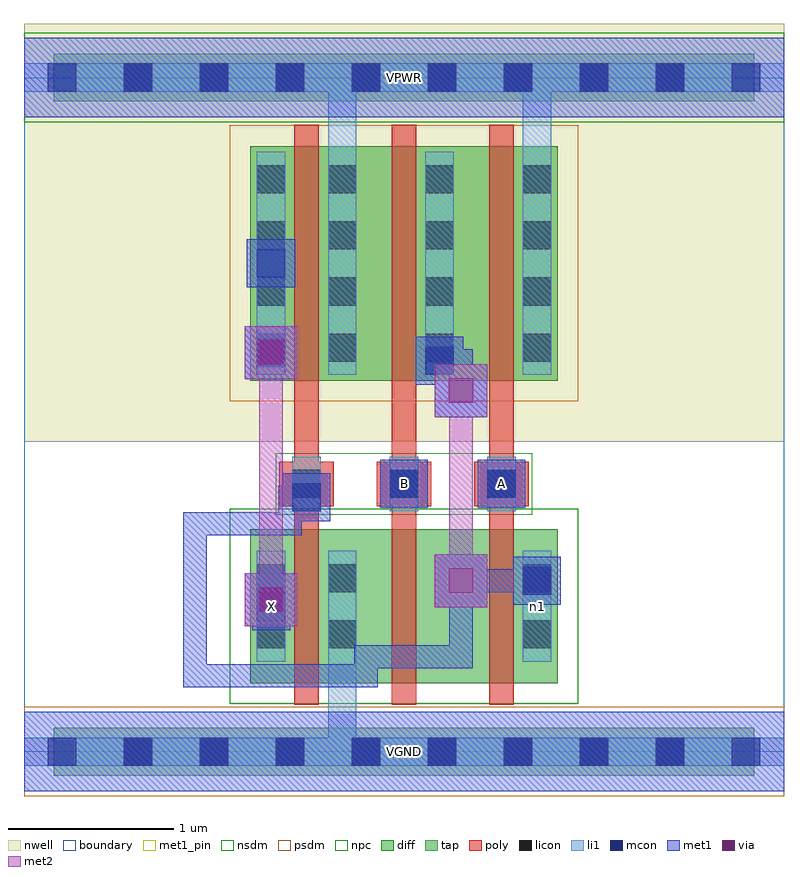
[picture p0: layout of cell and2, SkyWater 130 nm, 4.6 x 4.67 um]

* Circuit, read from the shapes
.subckt and2 A B VGND VPWR X n1
XM1 VGND n1 X VGND sky130_fd_pr__nfet_01v8 w=0.93 l=0.15
XM2 n2 B VGND VGND sky130_fd_pr__nfet_01v8 w=0.93 l=0.15
XM3 n1 A n2 VGND sky130_fd_pr__nfet_01v8 w=0.93 l=0.15
XM4 VPWR n1 X VPWR sky130_fd_pr__pfet_01v8 w=1.42 l=0.15
XM5 n1 B VPWR VPWR sky130_fd_pr__pfet_01v8 w=1.42 l=0.15
XM6 VPWR A n1 VPWR sky130_fd_pr__pfet_01v8 w=1.42 l=0.15
.ends

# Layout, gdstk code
import gdstk
lib = gdstk.Library(unit=1e-6, precision=1e-09)
def R(c, l, rs):  # rectangles x0, y0, x1, y1
    for r in rs: c.add(gdstk.rectangle(r[:2], r[2:], *l))
def A(c, l, x, y, w, h, nx, ny, dx, dy):  # array of equal rectangles
    R(c, l, [(x+i*dx, y+j*dy, x+i*dx+w, y+j*dy+h) for i in range(nx) for j in range(ny)])
nwell = (64, 20)
diff = (65, 20)
tap = (65, 44)
poly = (66, 20)
licon = (66, 44)
li1 = (67, 20)
mcon = (67, 44)
met1_pin = (68, 16)
met1 = (68, 20)
via = (68, 44)
met2 = (69, 20)
nsdm = (93, 44)
psdm = (94, 20)
npc = (95, 20)
boundary = (235, 4)

and2 = lib.new_cell('and2')
R(and2, nwell, [(0,1.875,4.6,4.405)])
R(and2, diff, [(1.37,0.415,3.23,1.345), (1.37,2.245,3.23,3.665)])
R(and2, tap, [(0.18,-0.145,4.42,0.145), (0.18,3.935,4.42,4.225)])
A(and2, poly, 1.635, 0.285, 0.15, 3.51, 3, 1, 0.59, 0)
A(and2, poly, 1.545, 1.485, 0.33, 0.27, 3, 1, 0.59, 0)
A(and2, licon, 0.605, -0.085, 0.17, 0.17, 8, 2, 0.46, 4.08)
A(and2, licon, 1.625, 1.535, 0.17, 0.17, 3, 1, 0.59, 0)
A(and2, licon, 1.41, 2.36, 0.17, 0.17, 1, 4, 0, 0.34)
A(and2, licon, 1.84, 2.36, 0.17, 0.17, 3, 4, 0.59, 0.34)
R(and2, licon, [(1.41,0.625,1.58,0.795), (1.84,0.625,2.01,0.795), (3.02,0.625,3.19,0.795), (1.41,0.965,1.58,1.135), (1.84,0.965,2.01,1.135), (3.02,0.965,3.19,1.135)])
A(and2, li1, 1.625, 1.455, 0.17, 0.33, 3, 1, 0.59, 0)
A(and2, li1, 1.84, 2.28, 0.17, 1.35, 3, 1, 0.59, 0)
R(and2, li1, [(0,-0.085,4.6,0.085), (1.84,-0.085,2.01,1.215), (1.41,0.545,1.58,1.215), (1.84,0.545,2.01,1.215), (3.02,0.545,3.19,1.215), (1.41,2.28,1.58,3.63), (1.84,2.28,2.01,4.165), (3.02,2.28,3.19,4.165), (0,3.995,4.6,4.165)])
A(and2, mcon, 0.145, -0.085, 0.17, 0.17, 10, 2, 0.46, 4.08)
R(and2, mcon, [(1.41,0.795,1.58,0.965), (3.02,0.95,3.19,1.12), (1.625,1.455,1.795,1.625), (2.215,1.535,2.385,1.705), (2.805,1.535,2.975,1.705), (2.43,2.28,2.6,2.45), (1.41,2.33,1.58,2.5), (1.41,2.87,1.58,3.04)])
R(and2, met1_pin, [(0,-0.24,4.6,0.24), (1.38,0.735,1.61,1.025), (2.155,1.475,2.445,1.765), (2.745,1.475,3.035,1.765), (0,3.84,4.6,4.32)])
R(and2, met1, [(0,-0.24,4.6,0.24), (0.965,0.39,2.14,0.53), (0.965,0.39,1.105,1.45), (2,0.39,2.14,0.645), (2,0.505,2.715,0.645), (2.575,0.505,2.715,1.105), (1.38,0.735,1.61,1.025), (1.335,0.76,1.655,1.08), (1.425,0.85,1.565,0.99), (2.485,0.875,2.805,1.195), (2.96,0.89,3.25,1.18), (2.575,0.965,3.175,1.105), (0.965,1.31,1.68,1.45), (1.54,1.31,1.68,1.61), (1.565,1.395,1.855,1.685), (1.54,1.47,1.78,1.61), (2.155,1.475,2.445,1.765), (2.745,1.475,3.035,1.765), (2.485,2.025,2.805,2.345), (2.575,2.115,2.715,2.435), (2.37,2.22,2.66,2.51), (1.335,2.255,1.655,2.575), (1.35,2.27,1.64,2.56), (2.445,2.295,2.715,2.435), (1.348,2.81,1.642,3.1), (1.38,2.81,1.61,3.1), (0,3.84,4.6,4.32)])
R(and2, via, [(1.42,0.845,1.57,0.995), (2.57,0.96,2.72,1.11), (2.57,2.11,2.72,2.26), (1.42,2.34,1.57,2.49)])
R(and2, met2, [(1.335,0.76,1.655,1.08), (1.425,0.85,1.565,2.485), (2.485,0.875,2.805,1.195), (2.575,0.965,2.715,2.255), (2.485,2.025,2.805,2.345), (1.335,2.255,1.655,2.575)])
R(and2, nsdm, [(1.245,0.29,3.355,1.47), (0,3.81,4.6,4.35)])
R(and2, psdm, [(0,-0.27,4.6,0.27), (1.245,2.12,3.355,3.79)])
R(and2, npc, [(1.525,1.435,3.075,1.805)])
R(and2, boundary, [(0,0,4.6,4.08)])
and2.add(gdstk.Label('n1', (3.105,0.88), layer=67, texttype=5))
and2.add(gdstk.Label('A', (2.89,1.62), layer=68, texttype=5))
and2.add(gdstk.Label('B', (2.3,1.62), layer=68, texttype=5))
and2.add(gdstk.Label('X', (1.495,0.88), layer=68, texttype=5))
and2.add(gdstk.Label('VPWR', (2.3,4.08), layer=68, texttype=5))
and2.add(gdstk.Label('VGND', (2.3,0), layer=68, texttype=5))
and2.add(gdstk.Label('A', (2.89,1.62), layer=68, texttype=16))
and2.add(gdstk.Label('B', (2.3,1.62), layer=68, texttype=16))
and2.add(gdstk.Label('X', (1.495,0.88), layer=68, texttype=16))
and2.add(gdstk.Label('VPWR', (2.3,4.08), layer=68, texttype=16))
and2.add(gdstk.Label('VGND', (2.3,0), layer=68, texttype=16))

lib.write_gds('and2.gds')
